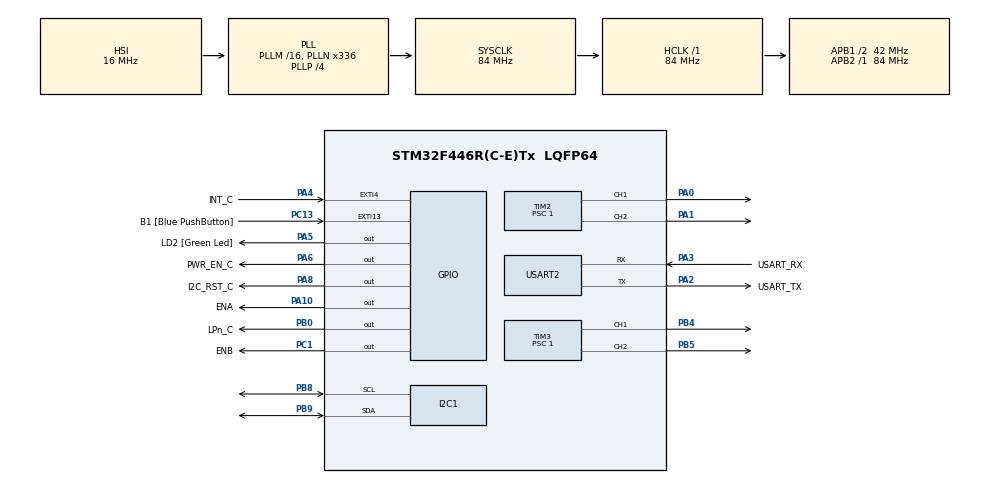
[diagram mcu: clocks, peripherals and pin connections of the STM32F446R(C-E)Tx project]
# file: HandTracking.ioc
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I2C1.I2C_Mode=I2C_Fast
Mcu.Family=STM32F4
Mcu.Name=STM32F446R(C-E)Tx
Mcu.Package=LQFP64
NVIC.EXTI4_IRQn=true\:0\:0\:false\:false\:true\:true\:true\:true
NVIC.I2C1_ER_IRQn=true\:0\:0\:false\:false\:true\:true\:true\:true
NVIC.I2C1_EV_IRQn=true\:0\:0\:false\:false\:true\:true\:true\:true
NVIC.PriorityGroup=NVIC_PRIORITYGROUP_0
NVIC.TIM2_IRQn=true\:0\:0\:false\:false\:true\:true\:true\:true
NVIC.TIM3_IRQn=true\:0\:0\:false\:false\:true\:true\:true\:true
PA0-WKUP.Signal=S_TIM2_CH1_ETR
PA1.Signal=S_TIM2_CH2
PA10.GPIO_Label=ENA
PA10.PinState=GPIO_PIN_SET
PA10.Signal=GPIO_Output
PA13.GPIO_Label=TMS
PA13.Mode=Serial_Wire
PA13.Signal=SYS_JTMS-SWDIO
PA14.GPIO_Label=TCK
PA14.Mode=Serial_Wire
PA14.Signal=SYS_JTCK-SWCLK
PA2.GPIO_Label=USART_TX
PA2.Mode=Asynchronous
PA2.Signal=USART2_TX
PA3.GPIO_Label=USART_RX
PA3.Mode=Asynchronous
PA3.Signal=USART2_RX
PA4.GPIO_Label=INT_C
PA4.Signal=GPXTI4
PA5.GPIO_Label=LD2 [Green Led]
PA5.Signal=GPIO_Output
PA6.GPIO_Label=PWR_EN_C
PA6.GPIO_PuPd=GPIO_PULLUP
PA6.PinState=GPIO_PIN_SET
PA6.Signal=GPIO_Output
PA8.GPIO_Label=I2C_RST_C
PA8.GPIO_PuPd=GPIO_PULLDOWN
PA8.Signal=GPIO_Output
PB0.GPIO_Label=LPn_C
PB0.GPIO_PuPd=GPIO_PULLUP
PB0.PinState=GPIO_PIN_SET
PB0.Signal=GPIO_Output
PB3.GPIO_Label=SWO
PB3.Signal=SYS_JTDO-SWO
PB4.Signal=S_TIM3_CH1
PB5.Signal=S_TIM3_CH2
PB8.GPIO_Mode=GPIO_MODE_AF_OD
PB8.GPIO_Pu=GPIO_NOPULL
PB8.Mode=I2C
PB8.Signal=I2C1_SCL
PB9.GPIO_Pu=GPIO_NOPULL
PB9.Mode=I2C
PB9.Signal=I2C1_SDA
PC1.GPIO_Label=ENB
PC1.Signal=GPIO_Output
PC13.GPIO_Label=B1 [Blue PushButton]
PC13.GPIO_ModeDefaultEXTI=GPIO_MODE_IT_FALLING
PC13.Signal=GPXTI13
PC14-OSC32_IN.Mode=LSE-External-Oscillator
PC14-OSC32_IN.Signal=RCC_OSC32_IN
PC15-OSC32_OUT.Mode=LSE-External-Oscillator
PC15-OSC32_OUT.Signal=RCC_OSC32_OUT
PH0-OSC_IN.Mode=HSE-External-Oscillator
PH0-OSC_IN.Signal=RCC_OSC_IN
PH1-OSC_OUT.Mode=HSE-External-Oscillator
PH1-OSC_OUT.Signal=RCC_OSC_OUT
ProjectManager.HeapSize=0x200
ProjectManager.StackSize=0x400
ProjectManager.TargetToolchain=STM32CubeIDE
RCC.48MHZClocksFreq_Value=84000000
RCC.AHBFreq_Value=84000000
RCC.APB1CLKDivider=RCC_HCLK_DIV2
RCC.APB1Freq_Value=42000000
RCC.APB1TimFreq_Value=84000000
RCC.APB2Freq_Value=84000000
RCC.APB2TimFreq_Value=84000000
RCC.CortexFreq_Value=84000000
RCC.FLatency-AdvancedSettings=FLASH_LATENCY_2
RCC.HCLKFreq_Value=84000000
RCC.HSE_VALUE=8000000
RCC.HSI_VALUE=16000000
RCC.PLLN=336
RCC.PLLP=RCC_PLLP_DIV4
RCC.SYSCLKFreq_VALUE=84000000
RCC.SYSCLKSource=RCC_SYSCLKSOURCE_PLLCLK
RCC.USBFreq_Value=168000000
RCC.VCOOutputFreq_Value=336000000
SH.S_TIM2_CH1_ETR.0=TIM2_CH1,PWM Generation1 CH1
SH.S_TIM2_CH2.0=TIM2_CH2,PWM Generation2 CH2
SH.S_TIM3_CH1.0=TIM3_CH1,PWM Generation1 CH1
SH.S_TIM3_CH2.0=TIM3_CH2,PWM Generation2 CH2
TIM2.AutoReloadPreload=TIM_AUTORELOAD_PRELOAD_ENABLE
TIM2.Channel-PWM\ Generation1\ CH1=TIM_CHANNEL_1
TIM2.Channel-PWM\ Generation2\ CH2=TIM_CHANNEL_2
TIM2.Period=1679
TIM2.Prescaler=1
TIM3.AutoReloadPreload=TIM_AUTORELOAD_PRELOAD_ENABLE
TIM3.Channel-PWM\ Generation1\ CH1=TIM_CHANNEL_1
TIM3.Channel-PWM\ Generation2\ CH2=TIM_CHANNEL_2
TIM3.Period=1679
TIM3.Prescaler=1
USART2.VirtualMode=VM_ASYNC
board=NUCLEO-F446RE

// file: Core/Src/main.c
/* USER CODE BEGIN Header */
/**
  ******************************************************************************
  * @file           : main.c
  * @brief          : Main program body
  ******************************************************************************
  * @attention
  *
  * Copyright (c) 2025 STMicroelectronics.
  * All rights reserved.
  *
  * This software is licensed under terms that can be found in the LICENSE file
  * in the root directory of this software component.
  * If no LICENSE file comes with this software, it is provided AS-IS.
  *
  ******************************************************************************
  */
/* USER CODE END Header */
#include "main.h"

/* USER CODE BEGIN Includes */
//#include "vl53l5cx.h"
#include "app_tof.h"
#include <stdlib.h>
#include <stdio.h>
#include "stm32f4xx_it.h"
/* USER CODE END Includes */

I2C_HandleTypeDef hi2c1;

TIM_HandleTypeDef htim2;
TIM_HandleTypeDef htim3;

UART_HandleTypeDef huart2;

/* USER CODE BEGIN PV */
volatile int tof_data_ready = 0;
volatile int tof_int_counter = 0;

/* USER CODE END PV */

void SystemClock_Config(void);
static void MX_GPIO_Init(void);
static void MX_USART2_UART_Init(void);
static void MX_I2C1_Init(void);
static void MX_TIM2_Init(void);
static void MX_TIM3_Init(void);

int main(void)
{

  /* MCU Configuration--------------------------------------------------------*/

  /* Reset of all peripherals, Initializes the Flash interface and the Systick. */
  HAL_Init();

  /* Configure the system clock */
  SystemClock_Config();

  /* Initialize all configured peripherals */
  MX_GPIO_Init();
  MX_USART2_UART_Init();
  MX_I2C1_Init();
  MX_TIM2_Init();
  MX_TIM3_Init();
  /* USER CODE BEGIN 2 */

  if (HAL_TIM_PWM_Start(&htim2, TIM_CHANNEL_1) != HAL_OK) {
	  HardFault_Handler();
  };

  if (HAL_TIM_PWM_Start(&htim2, TIM_CHANNEL_2) != HAL_OK) {
	  HardFault_Handler();
  };

  if (HAL_TIM_PWM_Start(&htim3, TIM_CHANNEL_1) != HAL_OK) {
	  HardFault_Handler();
  };

  if (HAL_TIM_PWM_Start(&htim3, TIM_CHANNEL_2) != HAL_OK) {
	  HardFault_Handler();
  };

  Tof_init();
  Tof_conf();

  /* USER CODE END 2 */

  /* Infinite loop */
  /* USER CODE BEGIN WHILE */
   while (1)
  {
	  if (tof_data_ready && ready == 1) {
	      tof_data_ready = 0;   // consumo l’evento
	      uint8_t isReady;
	      if (vl53l5cx_check_data_ready(&p_dev, &isReady) == VL53L5CX_STATUS_OK && isReady) {

	    	  if (vl53l5cx_get_ranging_data(&p_dev, &results) != VL53L5CX_STATUS_OK) {
				  printf ("errore GetRanging\n");
				  HardFault_Handler();

	    	  } else {
				  feedbackcontroll();

	    	  }
	  	  }
	  }
    /* USER CODE END WHILE */

  }
}

void SystemClock_Config(void)
{
  RCC_OscInitTypeDef RCC_OscInitStruct = {0};
  RCC_ClkInitTypeDef RCC_ClkInitStruct = {0};

  /** Configure the main internal regulator output voltage
  */
  __HAL_RCC_PWR_CLK_ENABLE();
  __HAL_PWR_VOLTAGESCALING_CONFIG(PWR_REGULATOR_VOLTAGE_SCALE3);

  /** Initializes the RCC Oscillators according to the specified parameters
  * in the RCC_OscInitTypeDef structure.
  */
  RCC_OscInitStruct.OscillatorType = RCC_OSCILLATORTYPE_HSI;
  RCC_OscInitStruct.HSIState = RCC_HSI_ON;
  RCC_OscInitStruct.HSICalibrationValue = RCC_HSICALIBRATION_DEFAULT;
  RCC_OscInitStruct.PLL.PLLState = RCC_PLL_ON;
  RCC_OscInitStruct.PLL.PLLSource = RCC_PLLSOURCE_HSI;
  RCC_OscInitStruct.PLL.PLLM = 16;
  RCC_OscInitStruct.PLL.PLLN = 336;
  RCC_OscInitStruct.PLL.PLLP = RCC_PLLP_DIV4;
  RCC_OscInitStruct.PLL.PLLQ = 2;
  RCC_OscInitStruct.PLL.PLLR = 2;
  if (HAL_RCC_OscConfig(&RCC_OscInitStruct) != HAL_OK)
  {
    Error_Handler();
  }

  /** Initializes the CPU, AHB and APB buses clocks
  */
  RCC_ClkInitStruct.ClockType = RCC_CLOCKTYPE_HCLK|RCC_CLOCKTYPE_SYSCLK
                              |RCC_CLOCKTYPE_PCLK1|RCC_CLOCKTYPE_PCLK2;
  RCC_ClkInitStruct.SYSCLKSource = RCC_SYSCLKSOURCE_PLLCLK;
  RCC_ClkInitStruct.AHBCLKDivider = RCC_SYSCLK_DIV1;
  RCC_ClkInitStruct.APB1CLKDivider = RCC_HCLK_DIV2;
  RCC_ClkInitStruct.APB2CLKDivider = RCC_HCLK_DIV1;

  if (HAL_RCC_ClockConfig(&RCC_ClkInitStruct, FLASH_LATENCY_2) != HAL_OK)
  {
    Error_Handler();
  }
}

static void MX_I2C1_Init(void)
{

  hi2c1.Instance = I2C1;
  hi2c1.Init.ClockSpeed = 400000;
  hi2c1.Init.DutyCycle = I2C_DUTYCYCLE_2;
  hi2c1.Init.OwnAddress1 = 0;
  hi2c1.Init.AddressingMode = I2C_ADDRESSINGMODE_7BIT;
  hi2c1.Init.DualAddressMode = I2C_DUALADDRESS_DISABLE;
  hi2c1.Init.OwnAddress2 = 0;
  hi2c1.Init.GeneralCallMode = I2C_GENERALCALL_DISABLE;
  hi2c1.Init.NoStretchMode = I2C_NOSTRETCH_DISABLE;
  if (HAL_I2C_Init(&hi2c1) != HAL_OK)
  {
    Error_Handler();
  }

}

static void MX_TIM2_Init(void)
{

  TIM_MasterConfigTypeDef sMasterConfig = {0};
  TIM_OC_InitTypeDef sConfigOC = {0};

  htim2.Instance = TIM2;
  htim2.Init.Prescaler = 1;
  htim2.Init.CounterMode = TIM_COUNTERMODE_UP;
  htim2.Init.Period = 1679;
  htim2.Init.ClockDivision = TIM_CLOCKDIVISION_DIV1;
  htim2.Init.AutoReloadPreload = TIM_AUTORELOAD_PRELOAD_ENABLE;
  if (HAL_TIM_PWM_Init(&htim2) != HAL_OK)
  {
    Error_Handler();
  }
  sMasterConfig.MasterOutputTrigger = TIM_TRGO_RESET;
  sMasterConfig.MasterSlaveMode = TIM_MASTERSLAVEMODE_DISABLE;
  if (HAL_TIMEx_MasterConfigSynchronization(&htim2, &sMasterConfig) != HAL_OK)
  {
    Error_Handler();
  }
  sConfigOC.OCMode = TIM_OCMODE_PWM1;
  sConfigOC.Pulse = 0;
  sConfigOC.OCPolarity = TIM_OCPOLARITY_HIGH;
  sConfigOC.OCFastMode = TIM_OCFAST_DISABLE;
  if (HAL_TIM_PWM_ConfigChannel(&htim2, &sConfigOC, TIM_CHANNEL_1) != HAL_OK)
  {
    Error_Handler();
  }
  if (HAL_TIM_PWM_ConfigChannel(&htim2, &sConfigOC, TIM_CHANNEL_2) != HAL_OK)
  {
    Error_Handler();
  }
  HAL_TIM_MspPostInit(&htim2);

}

static void MX_TIM3_Init(void)
{

  TIM_MasterConfigTypeDef sMasterConfig = {0};
  TIM_OC_InitTypeDef sConfigOC = {0};

  htim3.Instance = TIM3;
  htim3.Init.Prescaler = 1;
  htim3.Init.CounterMode = TIM_COUNTERMODE_UP;
  htim3.Init.Period = 1679;
  htim3.Init.ClockDivision = TIM_CLOCKDIVISION_DIV1;
  htim3.Init.AutoReloadPreload = TIM_AUTORELOAD_PRELOAD_ENABLE;
  if (HAL_TIM_PWM_Init(&htim3) != HAL_OK)
  {
    Error_Handler();
  }
  sMasterConfig.MasterOutputTrigger = TIM_TRGO_RESET;
  sMasterConfig.MasterSlaveMode = TIM_MASTERSLAVEMODE_DISABLE;
  if (HAL_TIMEx_MasterConfigSynchronization(&htim3, &sMasterConfig) != HAL_OK)
  {
    Error_Handler();
  }
  sConfigOC.OCMode = TIM_OCMODE_PWM1;
  sConfigOC.Pulse = 0;
  sConfigOC.OCPolarity = TIM_OCPOLARITY_HIGH;
  sConfigOC.OCFastMode = TIM_OCFAST_DISABLE;
  if (HAL_TIM_PWM_ConfigChannel(&htim3, &sConfigOC, TIM_CHANNEL_1) != HAL_OK)
  {
    Error_Handler();
  }
  if (HAL_TIM_PWM_ConfigChannel(&htim3, &sConfigOC, TIM_CHANNEL_2) != HAL_OK)
  {
    Error_Handler();
  }
  HAL_TIM_MspPostInit(&htim3);

}

static void MX_USART2_UART_Init(void)
{

  huart2.Instance = USART2;
  huart2.Init.BaudRate = 115200;
  huart2.Init.WordLength = UART_WORDLENGTH_8B;
  huart2.Init.StopBits = UART_STOPBITS_1;
  huart2.Init.Parity = UART_PARITY_NONE;
  huart2.Init.Mode = UART_MODE_TX_RX;
  huart2.Init.HwFlowCtl = UART_HWCONTROL_NONE;
  huart2.Init.OverSampling = UART_OVERSAMPLING_16;
  if (HAL_UART_Init(&huart2) != HAL_OK)
  {
    Error_Handler();
  }

}

static void MX_GPIO_Init(void)
{
  GPIO_InitTypeDef GPIO_InitStruct = {0};

  /* GPIO Ports Clock Enable */
  __HAL_RCC_GPIOC_CLK_ENABLE();
  __HAL_RCC_GPIOH_CLK_ENABLE();
  __HAL_RCC_GPIOA_CLK_ENABLE();
  __HAL_RCC_GPIOB_CLK_ENABLE();

  /*Configure GPIO pin Output Level */
  HAL_GPIO_WritePin(ENB_GPIO_Port, ENB_Pin, GPIO_PIN_SET);

  /*Configure GPIO pin Output Level */
  HAL_GPIO_WritePin(GPIOA, LD2_Pin|I2C_RST_C_Pin, GPIO_PIN_RESET);

  /*Configure GPIO pin Output Level */
  HAL_GPIO_WritePin(GPIOA, PWR_EN_C_Pin|ENA_Pin, GPIO_PIN_SET);

  /*Configure GPIO pin Output Level */
  HAL_GPIO_WritePin(LPn_C_GPIO_Port, LPn_C_Pin, GPIO_PIN_SET);

  /*Configure GPIO pin : B1_Pin */
  GPIO_InitStruct.Pin = B1_Pin;
  GPIO_InitStruct.Mode = GPIO_MODE_IT_FALLING;
  GPIO_InitStruct.Pull = GPIO_NOPULL;
  HAL_GPIO_Init(B1_GPIO_Port, &GPIO_InitStruct);

  /*Configure GPIO pin : ENB_Pin */
  GPIO_InitStruct.Pin = ENB_Pin;
  GPIO_InitStruct.Mode = GPIO_MODE_OUTPUT_PP;
  GPIO_InitStruct.Pull = GPIO_NOPULL;
  GPIO_InitStruct.Speed = GPIO_SPEED_FREQ_LOW;
  HAL_GPIO_Init(ENB_GPIO_Port, &GPIO_InitStruct);

  /*Configure GPIO pin : INT_C_Pin */
  GPIO_InitStruct.Pin = INT_C_Pin;
  GPIO_InitStruct.Mode = GPIO_MODE_IT_RISING;
  GPIO_InitStruct.Pull = GPIO_NOPULL;
  HAL_GPIO_Init(INT_C_GPIO_Port, &GPIO_InitStruct);

  /*Configure GPIO pins : LD2_Pin ENA_Pin */
  GPIO_InitStruct.Pin = LD2_Pin|ENA_Pin;
  GPIO_InitStruct.Mode = GPIO_MODE_OUTPUT_PP;
  GPIO_InitStruct.Pull = GPIO_NOPULL;
  GPIO_InitStruct.Speed = GPIO_SPEED_FREQ_LOW;
  HAL_GPIO_Init(GPIOA, &GPIO_InitStruct);

  /*Configure GPIO pin : PWR_EN_C_Pin */
  GPIO_InitStruct.Pin = PWR_EN_C_Pin;
  GPIO_InitStruct.Mode = GPIO_MODE_OUTPUT_PP;
  GPIO_InitStruct.Pull = GPIO_PULLUP;
  GPIO_InitStruct.Speed = GPIO_SPEED_FREQ_LOW;
  HAL_GPIO_Init(PWR_EN_C_GPIO_Port, &GPIO_InitStruct);

  /*Configure GPIO pin : LPn_C_Pin */
  GPIO_InitStruct.Pin = LPn_C_Pin;
  GPIO_InitStruct.Mode = GPIO_MODE_OUTPUT_PP;
  GPIO_InitStruct.Pull = GPIO_PULLUP;
  GPIO_InitStruct.Speed = GPIO_SPEED_FREQ_LOW;
  HAL_GPIO_Init(LPn_C_GPIO_Port, &GPIO_InitStruct);

  /*Configure GPIO pin : I2C_RST_C_Pin */
  GPIO_InitStruct.Pin = I2C_RST_C_Pin;
  GPIO_InitStruct.Mode = GPIO_MODE_OUTPUT_PP;
  GPIO_InitStruct.Pull = GPIO_PULLDOWN;
  GPIO_InitStruct.Speed = GPIO_SPEED_FREQ_LOW;
  HAL_GPIO_Init(I2C_RST_C_GPIO_Port, &GPIO_InitStruct);

  /* EXTI interrupt init*/
  HAL_NVIC_SetPriority(EXTI4_IRQn, 0, 0);
  HAL_NVIC_EnableIRQ(EXTI4_IRQn);

}

/* USER CODE BEGIN 4 */

void HAL_GPIO_EXTI_Callback(uint16_t GPIO_Pin) {

	printf("int\n");

    if (GPIO_Pin == INT_C_Pin) {
    	tof_int_counter ++;
        tof_data_ready = 1;   // segnalo l’evento e basta
    }
}

/* USER CODE END 4 */

void Error_Handler(void)
{
  __disable_irq();
  while (1)
  {
  }
}
